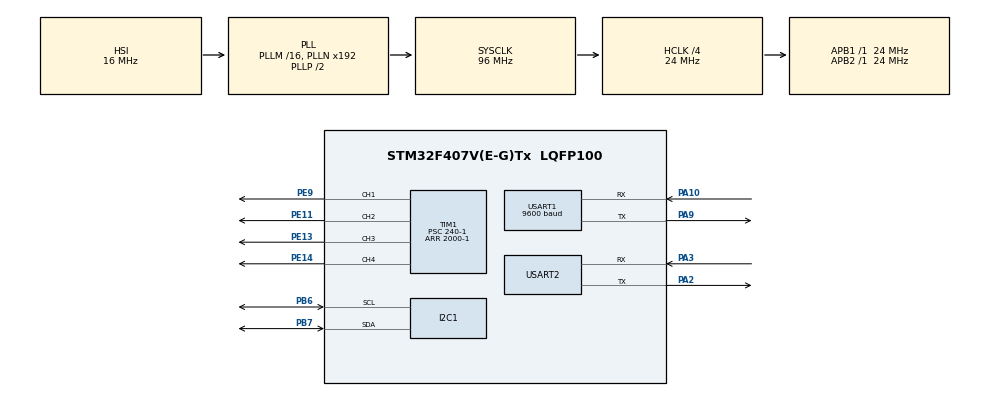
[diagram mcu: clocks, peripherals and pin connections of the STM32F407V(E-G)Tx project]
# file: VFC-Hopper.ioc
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Dma.I2C1_RX.1.Direction=DMA_PERIPH_TO_MEMORY
Dma.I2C1_RX.1.FIFOMode=DMA_FIFOMODE_DISABLE
Dma.I2C1_RX.1.Instance=DMA1_Stream0
Dma.I2C1_RX.1.MemDataAlignment=DMA_MDATAALIGN_BYTE
Dma.I2C1_RX.1.MemInc=DMA_MINC_ENABLE
Dma.I2C1_RX.1.Mode=DMA_NORMAL
Dma.I2C1_RX.1.PeriphDataAlignment=DMA_PDATAALIGN_BYTE
Dma.I2C1_RX.1.PeriphInc=DMA_PINC_DISABLE
Dma.I2C1_RX.1.Priority=DMA_PRIORITY_LOW
Dma.Request0=USART2_RX
Dma.Request1=I2C1_RX
Dma.USART2_RX.0.Direction=DMA_PERIPH_TO_MEMORY
Dma.USART2_RX.0.FIFOMode=DMA_FIFOMODE_DISABLE
Dma.USART2_RX.0.Instance=DMA1_Stream5
Dma.USART2_RX.0.MemDataAlignment=DMA_MDATAALIGN_BYTE
Dma.USART2_RX.0.MemInc=DMA_MINC_ENABLE
Dma.USART2_RX.0.Mode=DMA_NORMAL
Dma.USART2_RX.0.PeriphDataAlignment=DMA_PDATAALIGN_BYTE
Dma.USART2_RX.0.PeriphInc=DMA_PINC_DISABLE
Dma.USART2_RX.0.Priority=DMA_PRIORITY_LOW
FREERTOS.BinarySemaphores01=semPWMPending,Dynamic,NULL;semUART2Data,Dynamic,NULL
FREERTOS.INCLUDE_pcTaskGetTaskName=1
FREERTOS.INCLUDE_uxTaskGetStackHighWaterMark2=1
FREERTOS.INCLUDE_xEventGroupSetBitFromISR=1
FREERTOS.INCLUDE_xSemaphoreGetMutexHolder=1
FREERTOS.INCLUDE_xTaskGetCurrentTaskHandle=1
FREERTOS.INCLUDE_xTaskGetHandle=1
FREERTOS.Mutexes01=mutexPX4,Dynamic,NULL
FREERTOS.Tasks01=defaultTask,24,128,StartDefaultTask,Default,NULL,Dynamic,NULL,NULL;task_UpdatePWM,48,128,MTR_TaskUpdate,As external,NULL,Dynamic,NULL,NULL
FREERTOS.configGENERATE_RUN_TIME_STATS=1
FREERTOS.configUSE_STATS_FORMATTING_FUNCTIONS=1
Mcu.Family=STM32F4
Mcu.Name=STM32F407V(E-G)Tx
Mcu.Package=LQFP100
NVIC.DMA1_Stream0_IRQn=true\:5\:0\:false\:false\:true\:true\:false\:true
NVIC.DMA1_Stream5_IRQn=true\:5\:0\:false\:false\:true\:true\:false\:true
NVIC.PriorityGroup=NVIC_PRIORITYGROUP_4
NVIC.TIM2_IRQn=true\:0\:0\:false\:false\:true\:false\:false\:true
NVIC.TimeBase=TIM2_IRQn
NVIC.TimeBaseIP=TIM2
PA10.Mode=Asynchronous
PA10.Signal=USART1_RX
PA2.Mode=Asynchronous
PA2.Signal=USART2_TX
PA3.Mode=Asynchronous
PA3.Signal=USART2_RX
PA9.Mode=Asynchronous
PA9.Signal=USART1_TX
PB6.Mode=I2C
PB6.Signal=I2C1_SCL
PB7.Mode=I2C
PB7.Signal=I2C1_SDA
PE11.Signal=S_TIM1_CH2
PE13.Signal=S_TIM1_CH3
PE14.Signal=S_TIM1_CH4
PE9.Signal=S_TIM1_CH1
ProjectManager.HeapSize=0x200
ProjectManager.StackSize=0x400
ProjectManager.TargetToolchain=STM32CubeIDE
RCC.AHBCLKDivider=RCC_SYSCLK_DIV4
RCC.AHBFreq_Value=24000000
RCC.APB1Freq_Value=24000000
RCC.APB1TimFreq_Value=24000000
RCC.APB2Freq_Value=24000000
RCC.APB2TimFreq_Value=24000000
RCC.CortexFreq_Value=24000000
RCC.HCLKFreq_Value=24000000
RCC.HSE_VALUE=25000000
RCC.HSI_VALUE=16000000
RCC.LSE_VALUE=32768
RCC.SYSCLKFreq_VALUE=96000000
RCC.SYSCLKSource=RCC_SYSCLKSOURCE_PLLCLK
RCC.VCOOutputFreq_Value=192000000
SH.S_TIM1_CH1.0=TIM1_CH1,PWM Generation1 CH1
SH.S_TIM1_CH2.0=TIM1_CH2,PWM Generation2 CH2
SH.S_TIM1_CH3.0=TIM1_CH3,PWM Generation3 CH3
SH.S_TIM1_CH4.0=TIM1_CH4,PWM Generation4 CH4
TIM1.Channel-PWM\ Generation1\ CH1=TIM_CHANNEL_1
TIM1.Channel-PWM\ Generation2\ CH2=TIM_CHANNEL_2
TIM1.Channel-PWM\ Generation3\ CH3=TIM_CHANNEL_3
TIM1.Channel-PWM\ Generation4\ CH4=TIM_CHANNEL_4
TIM1.CounterMode=TIM_COUNTERMODE_CENTERALIGNED1
TIM1.Period=2000-1
TIM1.Prescaler=240-1
TIM1.Pulse-PWM\ Generation1\ CH1=1005
TIM1.Pulse-PWM\ Generation2\ CH2=1005
TIM1.Pulse-PWM\ Generation3\ CH3=1005
TIM1.Pulse-PWM\ Generation4\ CH4=1005
USART1.BaudRate=9600
USART1.VirtualMode=VM_ASYNC
USART2.VirtualMode=VM_ASYNC
VP_FREERTOS_VS_CMSIS_V2.Mode=CMSIS_V2
VP_SYS_VS_tim2.Mode=TIM2
board=custom

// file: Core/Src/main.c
/* USER CODE BEGIN Header */
/**
  ******************************************************************************
  * @file           : main.c
  * @brief          : Main program body
  ******************************************************************************
  * @attention
  *
  * <h2><center>&copy; Copyright (c) 2021 STMicroelectronics.
  * All rights reserved.</center></h2>
  *
  * This software component is licensed by ST under BSD 3-Clause license,
  * the "License"; You may not use this file except in compliance with the
  * License. You may obtain a copy of the License at:
  *                        opensource.org/licenses/BSD-3-Clause
  *
  ******************************************************************************
  */
/* USER CODE END Header */
#include "main.h"
#include "cmsis_os.h"

/* USER CODE BEGIN Includes */
#include <SEGGER_SYSVIEW.h>
#include "motor_driver.h"

#include "px4flow.h"
/* USER CODE END Includes */

/* USER CODE BEGIN PD */
#define UART2_BUFFER_SIZE 128
#define I2C1_BUFFER_SIZE 106
/* USER CODE END PD */

I2C_HandleTypeDef hi2c1;
DMA_HandleTypeDef hdma_i2c1_rx;

TIM_HandleTypeDef htim1;

UART_HandleTypeDef huart1;
UART_HandleTypeDef huart2;
DMA_HandleTypeDef hdma_usart2_rx;

/* Definitions for defaultTask */
osThreadId_t defaultTaskHandle;
const osThreadAttr_t defaultTask_attributes = {
  .name = "defaultTask",
  .priority = (osPriority_t) osPriorityNormal,
  .stack_size = 128 * 4
};
/* Definitions for task_UpdatePWM */
osThreadId_t task_UpdatePWMHandle;
const osThreadAttr_t task_UpdatePWM_attributes = {
  .name = "task_UpdatePWM",
  .priority = (osPriority_t) osPriorityRealtime,
  .stack_size = 128 * 4
};
/* Definitions for mutexPX4 */
osMutexId_t mutexPX4Handle;
const osMutexAttr_t mutexPX4_attributes = {
  .name = "mutexPX4"
};
/* Definitions for semPWMPending */
osSemaphoreId_t semPWMPendingHandle;
const osSemaphoreAttr_t semPWMPending_attributes = {
  .name = "semPWMPending"
};
/* Definitions for semUART2Data */
osSemaphoreId_t semUART2DataHandle;
const osSemaphoreAttr_t semUART2Data_attributes = {
  .name = "semUART2Data"
};
/* USER CODE BEGIN PV */
uint8_t uart2Buffer[UART2_BUFFER_SIZE] = {0};
uint8_t i2c1Buffer[I2C1_BUFFER_SIZE] = {0};

uint8_t mavlinkBuffer[300] = {0};
size_t 	mavlinkBufferIdx = 0;
/* USER CODE END PV */

void SystemClock_Config(void);
static void MX_GPIO_Init(void);
static void MX_DMA_Init(void);
static void MX_TIM1_Init(void);
static void MX_USART2_UART_Init(void);
static void MX_USART1_UART_Init(void);
static void MX_I2C1_Init(void);
void StartDefaultTask(void *argument);
extern void MTR_TaskUpdate(void *argument);

int main(void)
{

  /* MCU Configuration--------------------------------------------------------*/

  /* Reset of all peripherals, Initializes the Flash interface and the Systick. */
  HAL_Init();

  /* Configure the system clock */
  SystemClock_Config();

  /* USER CODE BEGIN SysInit */
  SEGGER_SYSVIEW_Conf();

  /* USER CODE END SysInit */

  /* Initialize all configured peripherals */
  MX_GPIO_Init();
  MX_DMA_Init();
  MX_TIM1_Init();
  MX_USART2_UART_Init();
  MX_USART1_UART_Init();
  MX_I2C1_Init();
  /* USER CODE BEGIN 2 */
  HAL_TIM_PWM_Start(&htim1, TIM_CHANNEL_1);
  HAL_TIM_PWM_Start(&htim1, TIM_CHANNEL_2);
  HAL_TIM_PWM_Start(&htim1, TIM_CHANNEL_3);
  HAL_TIM_PWM_Start(&htim1, TIM_CHANNEL_4);
 // UART2_Read();

  __HAL_UART_ENABLE_IT(&huart2,UART_IT_IDLE);

  HAL_UART_Receive_DMA(&huart2, uart2Buffer, UART2_BUFFER_SIZE);

  MTR_Init(&htim1, &semPWMPendingHandle);

  /* USER CODE END 2 */

  /* Init scheduler */
  osKernelInitialize();
  /* Create the mutex(es) */
  /* creation of mutexPX4 */
  mutexPX4Handle = osMutexNew(&mutexPX4_attributes);

  /* Create the semaphores(s) */
  /* creation of semPWMPending */
  semPWMPendingHandle = osSemaphoreNew(1, 1, &semPWMPending_attributes);

  /* creation of semUART2Data */
  semUART2DataHandle = osSemaphoreNew(1, 1, &semUART2Data_attributes);

  /* Create the thread(s) */
  /* creation of defaultTask */
  defaultTaskHandle = osThreadNew(StartDefaultTask, NULL, &defaultTask_attributes);

  /* creation of task_UpdatePWM */
  task_UpdatePWMHandle = osThreadNew(MTR_TaskUpdate, NULL, &task_UpdatePWM_attributes);

  /* Start scheduler */
  osKernelStart();

  /* We should never get here as control is now taken by the scheduler */
  /* Infinite loop */
  while (1)
  {

  }
}

void SystemClock_Config(void)
{
  RCC_OscInitTypeDef RCC_OscInitStruct = {0};
  RCC_ClkInitTypeDef RCC_ClkInitStruct = {0};

  /** Configure the main internal regulator output voltage
  */
  __HAL_RCC_PWR_CLK_ENABLE();
  __HAL_PWR_VOLTAGESCALING_CONFIG(PWR_REGULATOR_VOLTAGE_SCALE1);
  /** Initializes the RCC Oscillators according to the specified parameters
  * in the RCC_OscInitTypeDef structure.
  */
  RCC_OscInitStruct.OscillatorType = RCC_OSCILLATORTYPE_HSI;
  RCC_OscInitStruct.HSIState = RCC_HSI_ON;
  RCC_OscInitStruct.HSICalibrationValue = RCC_HSICALIBRATION_DEFAULT;
  RCC_OscInitStruct.PLL.PLLState = RCC_PLL_ON;
  RCC_OscInitStruct.PLL.PLLSource = RCC_PLLSOURCE_HSI;
  RCC_OscInitStruct.PLL.PLLM = 16;
  RCC_OscInitStruct.PLL.PLLN = 192;
  RCC_OscInitStruct.PLL.PLLP = RCC_PLLP_DIV2;
  RCC_OscInitStruct.PLL.PLLQ = 4;
  if (HAL_RCC_OscConfig(&RCC_OscInitStruct) != HAL_OK)
  {
    Error_Handler();
  }
  /** Initializes the CPU, AHB and APB buses clocks
  */
  RCC_ClkInitStruct.ClockType = RCC_CLOCKTYPE_HCLK|RCC_CLOCKTYPE_SYSCLK
                              |RCC_CLOCKTYPE_PCLK1|RCC_CLOCKTYPE_PCLK2;
  RCC_ClkInitStruct.SYSCLKSource = RCC_SYSCLKSOURCE_PLLCLK;
  RCC_ClkInitStruct.AHBCLKDivider = RCC_SYSCLK_DIV4;
  RCC_ClkInitStruct.APB1CLKDivider = RCC_HCLK_DIV1;
  RCC_ClkInitStruct.APB2CLKDivider = RCC_HCLK_DIV1;

  if (HAL_RCC_ClockConfig(&RCC_ClkInitStruct, FLASH_LATENCY_0) != HAL_OK)
  {
    Error_Handler();
  }
}

static void MX_I2C1_Init(void)
{

  hi2c1.Instance = I2C1;
  hi2c1.Init.ClockSpeed = 100000;
  hi2c1.Init.DutyCycle = I2C_DUTYCYCLE_2;
  hi2c1.Init.OwnAddress1 = 0;
  hi2c1.Init.AddressingMode = I2C_ADDRESSINGMODE_7BIT;
  hi2c1.Init.DualAddressMode = I2C_DUALADDRESS_DISABLE;
  hi2c1.Init.OwnAddress2 = 0;
  hi2c1.Init.GeneralCallMode = I2C_GENERALCALL_DISABLE;
  hi2c1.Init.NoStretchMode = I2C_NOSTRETCH_DISABLE;
  if (HAL_I2C_Init(&hi2c1) != HAL_OK)
  {
    Error_Handler();
  }

}

static void MX_TIM1_Init(void)
{

  TIM_MasterConfigTypeDef sMasterConfig = {0};
  TIM_OC_InitTypeDef sConfigOC = {0};
  TIM_BreakDeadTimeConfigTypeDef sBreakDeadTimeConfig = {0};

  htim1.Instance = TIM1;
  htim1.Init.Prescaler = 240-1;
  htim1.Init.CounterMode = TIM_COUNTERMODE_CENTERALIGNED1;
  htim1.Init.Period = 2000-1;
  htim1.Init.ClockDivision = TIM_CLOCKDIVISION_DIV1;
  htim1.Init.RepetitionCounter = 0;
  htim1.Init.AutoReloadPreload = TIM_AUTORELOAD_PRELOAD_DISABLE;
  if (HAL_TIM_PWM_Init(&htim1) != HAL_OK)
  {
    Error_Handler();
  }
  sMasterConfig.MasterOutputTrigger = TIM_TRGO_RESET;
  sMasterConfig.MasterSlaveMode = TIM_MASTERSLAVEMODE_DISABLE;
  if (HAL_TIMEx_MasterConfigSynchronization(&htim1, &sMasterConfig) != HAL_OK)
  {
    Error_Handler();
  }
  sConfigOC.OCMode = TIM_OCMODE_PWM1;
  sConfigOC.Pulse = 1005;
  sConfigOC.OCPolarity = TIM_OCPOLARITY_HIGH;
  sConfigOC.OCNPolarity = TIM_OCNPOLARITY_HIGH;
  sConfigOC.OCFastMode = TIM_OCFAST_DISABLE;
  sConfigOC.OCIdleState = TIM_OCIDLESTATE_RESET;
  sConfigOC.OCNIdleState = TIM_OCNIDLESTATE_RESET;
  if (HAL_TIM_PWM_ConfigChannel(&htim1, &sConfigOC, TIM_CHANNEL_1) != HAL_OK)
  {
    Error_Handler();
  }
  if (HAL_TIM_PWM_ConfigChannel(&htim1, &sConfigOC, TIM_CHANNEL_2) != HAL_OK)
  {
    Error_Handler();
  }
  if (HAL_TIM_PWM_ConfigChannel(&htim1, &sConfigOC, TIM_CHANNEL_3) != HAL_OK)
  {
    Error_Handler();
  }
  if (HAL_TIM_PWM_ConfigChannel(&htim1, &sConfigOC, TIM_CHANNEL_4) != HAL_OK)
  {
    Error_Handler();
  }
  sBreakDeadTimeConfig.OffStateRunMode = TIM_OSSR_DISABLE;
  sBreakDeadTimeConfig.OffStateIDLEMode = TIM_OSSI_DISABLE;
  sBreakDeadTimeConfig.LockLevel = TIM_LOCKLEVEL_OFF;
  sBreakDeadTimeConfig.DeadTime = 0;
  sBreakDeadTimeConfig.BreakState = TIM_BREAK_DISABLE;
  sBreakDeadTimeConfig.BreakPolarity = TIM_BREAKPOLARITY_HIGH;
  sBreakDeadTimeConfig.AutomaticOutput = TIM_AUTOMATICOUTPUT_DISABLE;
  if (HAL_TIMEx_ConfigBreakDeadTime(&htim1, &sBreakDeadTimeConfig) != HAL_OK)
  {
    Error_Handler();
  }
  HAL_TIM_MspPostInit(&htim1);

}

static void MX_USART1_UART_Init(void)
{

  huart1.Instance = USART1;
  huart1.Init.BaudRate = 9600;
  huart1.Init.WordLength = UART_WORDLENGTH_8B;
  huart1.Init.StopBits = UART_STOPBITS_1;
  huart1.Init.Parity = UART_PARITY_NONE;
  huart1.Init.Mode = UART_MODE_TX_RX;
  huart1.Init.HwFlowCtl = UART_HWCONTROL_NONE;
  huart1.Init.OverSampling = UART_OVERSAMPLING_16;
  if (HAL_UART_Init(&huart1) != HAL_OK)
  {
    Error_Handler();
  }

}

static void MX_USART2_UART_Init(void)
{

  huart2.Instance = USART2;
  huart2.Init.BaudRate = 115200;
  huart2.Init.WordLength = UART_WORDLENGTH_8B;
  huart2.Init.StopBits = UART_STOPBITS_1;
  huart2.Init.Parity = UART_PARITY_NONE;
  huart2.Init.Mode = UART_MODE_TX_RX;
  huart2.Init.HwFlowCtl = UART_HWCONTROL_NONE;
  huart2.Init.OverSampling = UART_OVERSAMPLING_16;
  if (HAL_UART_Init(&huart2) != HAL_OK)
  {
    Error_Handler();
  }

}

static void MX_DMA_Init(void)
{

  /* DMA controller clock enable */
  __HAL_RCC_DMA1_CLK_ENABLE();

  /* DMA interrupt init */
  /* DMA1_Stream0_IRQn interrupt configuration */
  HAL_NVIC_SetPriority(DMA1_Stream0_IRQn, 5, 0);
  HAL_NVIC_EnableIRQ(DMA1_Stream0_IRQn);
  /* DMA1_Stream5_IRQn interrupt configuration */
  HAL_NVIC_SetPriority(DMA1_Stream5_IRQn, 5, 0);
  HAL_NVIC_EnableIRQ(DMA1_Stream5_IRQn);

}

static void MX_GPIO_Init(void)
{

  /* GPIO Ports Clock Enable */
  __HAL_RCC_GPIOA_CLK_ENABLE();
  __HAL_RCC_GPIOE_CLK_ENABLE();
  __HAL_RCC_GPIOB_CLK_ENABLE();

}

/* USER CODE BEGIN 4 */
size_t _lastUartRequest = UART2_BUFFER_SIZE;
void UART2_Read(){

	size_t offset = 0;
	uint8_t data_length  = UART2_BUFFER_SIZE - __HAL_DMA_GET_COUNTER(&hdma_usart2_rx);
	pxParse(uart2Buffer, data_length, &offset);
	memset(uart2Buffer, 0,UART2_BUFFER_SIZE);
	HAL_UART_Receive_DMA(&huart2, (uint8_t* )uart2Buffer, UART2_BUFFER_SIZE);
	//HAL_UART_Transmit(&huart1, 5, 1, 100);
}

void I2C1_Read(){

	HAL_StatusTypeDef state = HAL_I2C_Mem_Read_DMA(&hi2c1, 0x28 << 1, 0x00, I2C1_BUFFER_SIZE, &i2c1Buffer,I2C1_BUFFER_SIZE);

}

void PXNewData(){
	/*
	osSemaphoreRelease(semUART2DataHandle);
	OpticalFlowMessage* msg = pxGetLatest();

	char str[] = "Distance: %d\n";
	char str2[1000];
	//sprintf(str2,str,msg->ground_distance);
	HAL_UART_Transmit(&huart1, str2, strlen(str2), 5);
	*/
}

void ShiftBuffer(size_t offset){
	uint8_t* dest = uart2Buffer[0];
	memmove(dest, dest + offset, sizeof(uart2Buffer) - offset);
}

void UART_Log(char* toLog){
	HAL_UART_Transmit(&huart1,toLog, strlen(toLog), 100);
}

/* USER CODE END 4 */

void StartDefaultTask(void *argument)
{
  /* USER CODE BEGIN 5 */
  /* Infinite loop */

	/*
	 * size_t min[4] = {1005,1005,1005,1005};
	size_t max[4] = {1970,1970,1970,1970};
	MTR_UpdateState(min);
	osDelay(1000);
	MTR_UpdateState(max);
	osDelay(1000);
	MTR_UpdateState(min);
	osDelay(1000);
	 */

	uint8_t txdata[2] = {0x3D, 0x08};
	//HAL_I2C_Master_Transmit(&hi2c1, 0x28<<1, txdata, sizeof(txdata), 100);
	osDelay(1000);

	 //I2C1_Read();
  for(;;)
  {

	 // int16_t pitch = 0;
	 // memcpy(&pitch, &i2c1Buffer[0x1E],2 );

	 // int16_t heading = 0;
	 // memcpy(&heading, &i2c1Buffer[0x1A],2 );

	  char str[] = "Height=%d, FlowX=%d, FlowY=%d, Quality=%d\n";

	  char str2[100];

	  sprintf(str2,str,(int)(pxGetLatest()->ground_distance * 100), pxGetLatest()->flow_x, pxGetLatest()->flow_y, pxGetLatest()->quality);

	  HAL_UART_Transmit(&huart1, str2, strlen(str2), 100);

	  osDelay(100);

  }
  /* USER CODE END 5 */
}

 /**
  * @brief  Period elapsed callback in non blocking mode
  * @note   This function is called  when TIM2 interrupt took place, inside
  * HAL_TIM_IRQHandler(). It makes a direct call to HAL_IncTick() to increment
  * a global variable "uwTick" used as application time base.
  * @param  htim : TIM handle
  * @retval None
  */
void HAL_TIM_PeriodElapsedCallback(TIM_HandleTypeDef *htim)
{
  if (htim->Instance == TIM2) {
    HAL_IncTick();
  }
}

void Error_Handler(void)
{
  __disable_irq();
  while (1)
  {
  }
}

/************************ (C) COPYRIGHT STMicroelectronics *****END OF FILE****/
